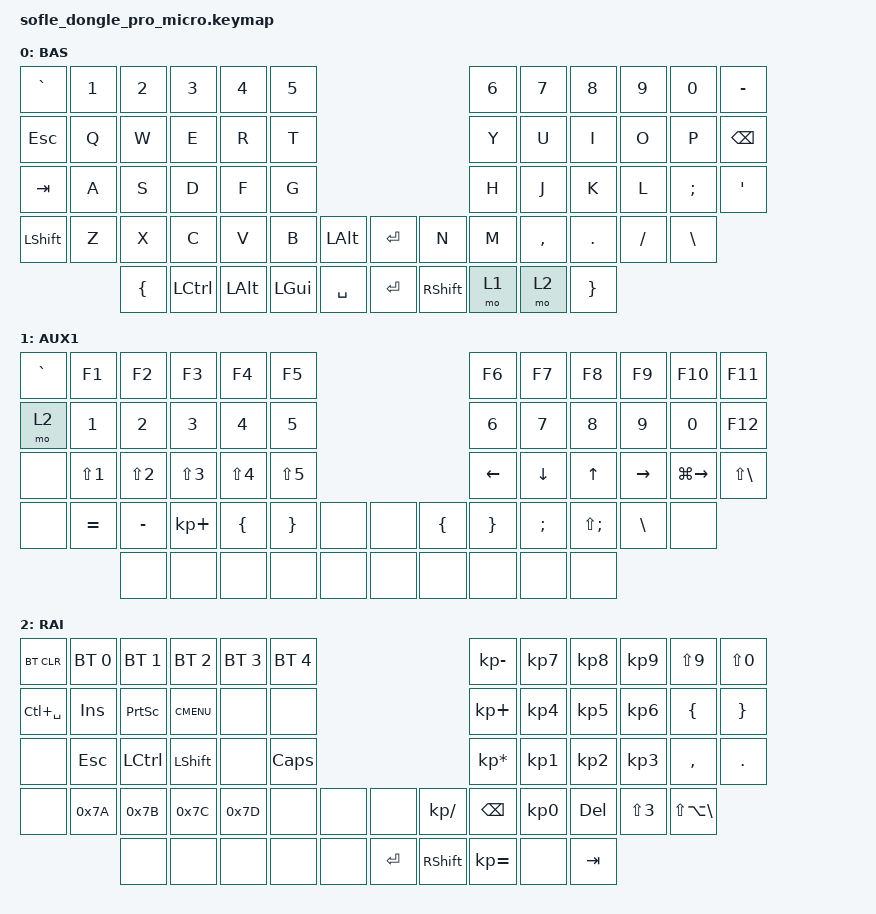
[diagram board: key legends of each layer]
/*
 * Dongle-as-central keymap (shield sofle_dongle_pro_micro).
 *
 * The dongle is the split CENTRAL: both halves are BLE peripherals that
 * connect to it. This keymap is intentionally MINIMAL — no DYA runtime
 * modules, no custom behaviors, no RSR encoder bindings, no display-sync.
 * Fewer moving parts = fewer reconnect paths. The left/right halves use the
 * full sofle.keymap; this file only needs the same layer geometry.
 *
 * The dongle board's encoders are disabled by the shield overlay, so there
 * are no sensor-bindings here. Encoder pushes are mapped to plain keys.
 * BT profile keys are kept so the dongle itself can still be re-paired.
 */

#include <behaviors.dtsi>
#include <dt-bindings/zmk/bt.h>
#include <dt-bindings/zmk/keys.h>
#include "sofle-esb-overlay.dtsi"

/ {
    keymap {
        compatible = "zmk,keymap";

        default_layer {
            display-name = "BAS";
            bindings = <
&kp GRAVE  &kp N1  &kp N2    &kp N3    &kp N4     &kp N5                                   &kp N6  &kp N7     &kp N8     &kp N9    &kp N0    &kp MINUS
&kp ESC    &kp Q   &kp W     &kp E     &kp R      &kp T                                    &kp Y   &kp U      &kp I      &kp O     &kp P     &kp BSPC
&kp TAB    &kp A   &kp S     &kp D     &kp F      &kp G                                    &kp H   &kp J      &kp K      &kp L     &kp SEMI  &kp SQT
&kp LSHFT  &kp Z   &kp X     &kp C     &kp V      &kp B   &kp LALT      &kp RET     &kp N   &kp M      &kp COMMA  &kp DOT   &kp FSLH  &kp BSLH
                   &kp LBRC  &kp LCTRL  &kp LALT  &kp LGUI  &kp SPACE    &kp RET  &kp RSHFT    &mo 1    &mo 2      &kp RBRC
            >;
        };

        lower_layer {
            display-name = "AUX1";
            bindings = <
&kp GRAVE  &kp F1     &kp F2     &kp F3       &kp F4    &kp F5                       &kp F6     &kp F7    &kp F8           &kp F9     &kp F10   &kp F11
&mo 2      &kp N1     &kp N2     &kp N3       &kp N4    &kp N5                       &kp N6     &kp N7    &kp N8           &kp N9     &kp N0    &kp F12
&none      &kp LS(N1) &kp LS(N2) &kp LS(N3)   &kp LS(N4) &kp LS(N5)                  &kp LEFT   &kp DOWN  &kp UP           &kp RIGHT  &kp LG(RIGHT) &kp LS(BSLH)
&none      &kp EQUAL  &kp MINUS  &kp KP_PLUS  &kp LBRC  &kp RBRC   &none        &none &kp LBRC &kp RBRC &kp SEMI &kp LS(SEMI) &kp BSLH &none
                      &none      &none        &none     &none      &none    &none  &none      &none     &none    &none
            >;
        };

        raise_layer {
            display-name = "RAI";
            bindings = <
&bt BT_CLR  &bt BT_SEL 0  &bt BT_SEL 1  &bt BT_SEL 2   &bt BT_SEL 3  &bt BT_SEL 4                  &kp KP_MINUS  &kp KP_N7  &kp KP_N8   &kp KP_N9  &kp LS(N9) &kp LS(N0)
&kp LC(SPACE) &kp INS     &kp PSCRN     &kp K_CMENU    &none         &none                         &kp KP_PLUS   &kp KP_N4  &kp KP_N5   &kp KP_N6  &kp LBRC   &kp RBRC
&none       &kp ESC       &kp LCTRL     &kp LSHFT      &none         &kp CLCK                      &kp KP_ASTERISK &kp KP_N1 &kp KP_N2  &kp KP_N3  &kp COMMA  &kp DOT
&none       &kp 0x7A      &kp 0x7B      &kp 0x7C       &kp 0x7D      &none         &none  &none    &kp KP_DIVIDE &kp BSPC   &kp KP_N0   &kp DEL    &kp LS(N3) &kp LS(LA(BSLH))
                          &none         &none          &none         &none         &none  &kp RET  &kp RSHFT     &kp KP_EQUAL &none   &kp TAB
            >;
        };
    };
};
